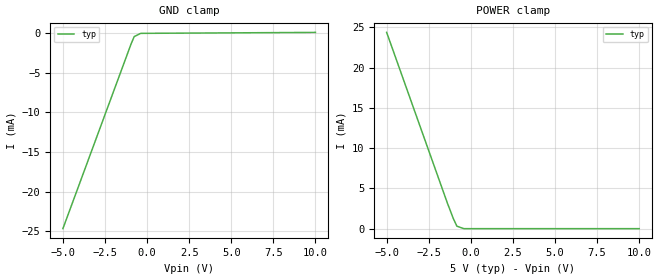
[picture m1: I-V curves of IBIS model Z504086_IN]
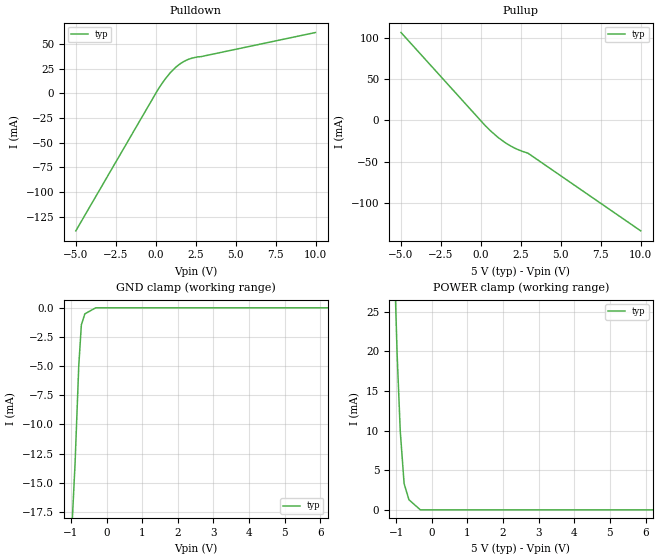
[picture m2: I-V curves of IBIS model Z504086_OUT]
| YOU ARE ONLY AUTHORIZED TO USE THIS SOFTWARE
| ACCORDING TO LICENSOR'S LICENSE RESTRICTIONS.
[IBIS Ver] 3.1
[File Name] mc54hc273aj.ibs
[File Rev] 2.0
[Source] Measured and created by ICX Technology
[Date] Friday 7/14/00 9:08:06 AM
[Copyright]
| (C) COPYRIGHT 1993-2000
| MENTOR GRAPHICS CORPORATION
| ICX STANDARD LIBRARY, ICX PROJECT MODELING,
| ICX CUSTOM MODELING, ICX VENDOR MODEL
| ALL RIGHTS RESERVED.
| THE FOLLOWING ARE TRADEMARKS OR SERVICE MARKS OF
| MENTOR GRAPHICS CORPORATION:ICX (R), ICX STANDARD
| LIBRARY(R), ICX PROJECT MODELING(R), ICX CUSTOM
| MODELING(R), qualityIBIS(TM), MODELVIEWER(TM),
| AND MODELEDITOR(TM)
| ALL COPIES OF SOFTWARE, INCLUDING BUT NOT LIMITED TO
| ANY MODIFICATIONS, ENHANCEMENTS OR DERIVATIVE WORKS,
| MUST CONTAIN ALL MENTOR GRAPHICS CORPORATION'S
| NOTICES AND LEGENDS, INCLUDING THOSE EMBEDDED IN
| SOFTWARE AND THOSE AFFIXED TO SOFTWARE MEDIUM
| AND CONTAINER, AS RECEIVED FROM MENTOR GRAPHICS
| CORPORATION.
|  ZAP Model Builder 2.7
[Component] MC54HC273AJ
[Manufacturer] OnSemiconductor
[Package]
| variable   typ   min   max
R_pkg  .216ohms NA NA
L_pkg  5.76nH NA NA
C_pkg  2.193pF NA NA
[Pin] signal_name  model_name  R_pin  L_pin C_pin
1 _CLR Z504086_IN .232 9.76n 3.179p
2 Q0 Z504086_OUT .224 7.26n 2.686p
3 D0 Z504086_IN .216 5.26n 2.193p
4 D1 Z504086_IN .208 3.76n 1.7p
5 Q1 Z504086_OUT .2 2.76n 1.207p
6 Q2 Z504086_OUT .2 2.76n 1.207p
7 D2 Z504086_IN .208 3.76n 1.7p
8 D3 Z504086_IN .216 5.26n 2.193p
9 Q3 Z504086_OUT .224 7.26n 2.686p
10 GND GND .232 9.76n 3.179p
11 CLK Z504086_IN .232 9.76n 3.179p
12 Q4 Z504086_OUT .224 7.26n 2.686p
13 D4 Z504086_IN .216 5.26n 2.193p
14 D5 Z504086_IN .208 3.76n 1.7p
15 Q5 Z504086_OUT .2 2.76n 1.207p
16 Q6 Z504086_OUT .2 2.76n 1.207p
17 D6 Z504086_IN .208 3.76n 1.7p
18 D7 Z504086_IN .216 5.26n 2.193p
19 Q7 Z504086_OUT .224 7.26n 2.686p
20 VCC POWER .232 9.76n 3.179p
| Models and submodels in the file (2): Z504086_IN (Input), Z504086_OUT (Output)
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| (C) COPYRIGHT 1993-2000
| MENTOR GRAPHICS CORPORATION
| ICX STANDARD LIBRARY, ICX PROJECT MODELING,
| ICX CUSTOM MODELING, ICX VENDOR MODEL
| ALL RIGHTS RESERVED.
| THE FOLLOWING ARE TRADEMARKS OR SERVICE MARKS OF
| MENTOR GRAPHICS CORPORATION:ICX (R), ICX STANDARD
| LIBRARY(R), ICX PROJECT MODELING(R), ICX CUSTOM
| MODELING(R), qualityIBIS(TM), MODELVIEWER(TM),
| AND MODELEDITOR(TM)
| ALL COPIES OF SOFTWARE, INCLUDING BUT NOT LIMITED TO
| ANY MODIFICATIONS, ENHANCEMENTS OR DERIVATIVE WORKS,
| MUST CONTAIN ALL MENTOR GRAPHICS CORPORATION'S
| NOTICES AND LEGENDS, INCLUDING THOSE EMBEDDED IN
| SOFTWARE AND THOSE AFFIXED TO SOFTWARE MEDIUM
| AND CONTAINER, AS RECEIVED FROM MENTOR GRAPHICS
| CORPORATION.
| Model Application Version 1.89 2/18/99.
[Model] Z504086_IN
Model_type Input
Vinl = 1.000V
Vinh = 3.500V
C_comp 4.000pF NA NA
| variable typ   min   max
[Voltage Range] 5.000V NA NA
[GND Clamp Reference] 0.000V NA NA
[POWER Clamp Reference] 5.000V NA NA
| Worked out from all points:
|   GND clamp passes 1 mA (typ) near -0.88 V on its own axis
|   POWER clamp passes 1 mA (typ) near -0.98 V on its own axis
[GND Clamp]
-5V       -24.65mA   NA         NA
-936.9mV  -1.3mA     NA         NA
-765.4mV  -453.9uA   NA         NA
-382.7mV  -41.27uA   NA         NA
10V       80.42uA    NA         NA
[POWER Clamp]
-5V       24.39mA    NA         NA
-1.398V   3.206mA    NA         NA
-1.04V    1.254mA    NA         NA
-830mV    311.8uA    NA         NA
-415mV    0A         NA         NA
10V       0A         NA         NA
| (C) COPYRIGHT 1993-2000
| MENTOR GRAPHICS CORPORATION
| ICX STANDARD LIBRARY, ICX PROJECT MODELING,
| ICX CUSTOM MODELING, ICX VENDOR MODEL
| ALL RIGHTS RESERVED.
| THE FOLLOWING ARE TRADEMARKS OR SERVICE MARKS OF
| MENTOR GRAPHICS CORPORATION:ICX (R), ICX STANDARD
| LIBRARY(R), ICX PROJECT MODELING(R), ICX CUSTOM
| MODELING(R), qualityIBIS(TM), MODELVIEWER(TM),
| AND MODELEDITOR(TM)
| ALL COPIES OF SOFTWARE, INCLUDING BUT NOT LIMITED TO
| ANY MODIFICATIONS, ENHANCEMENTS OR DERIVATIVE WORKS,
| MUST CONTAIN ALL MENTOR GRAPHICS CORPORATION'S
| NOTICES AND LEGENDS, INCLUDING THOSE EMBEDDED IN
| SOFTWARE AND THOSE AFFIXED TO SOFTWARE MEDIUM
| AND CONTAINER, AS RECEIVED FROM MENTOR GRAPHICS
| CORPORATION.
| Model Application Version 1.89 2/18/99.
[Model] Z504086_OUT
Model_type Output
Vref=0.000V
Rref=500.0Mohms
Cref=50.00pF
Vmeas=2.500V
C_comp 8.000pF NA NA
| variable typ   min   max
[Voltage Range] 5.000V NA NA
[POWER Clamp Reference] 5.000V NA NA
[Pullup Reference] 5.000V NA NA
[Pulldown Reference] 0.000V NA NA
[GND Clamp Reference] 0.000V NA NA
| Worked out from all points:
|   slope of the pulldown table from 0 to 0.75 V, typ, clamps not added: 42.2 ohm
|   slope of the pullup table from 0 to 0.75 V, typ, clamps not added: 51.3 ohm
|   GND clamp passes 1 mA (typ) near -0.66 V on its own axis
[GND Clamp]
-5V       -270mA     NA         NA
-884.1mV  -13.33mA   NA         NA
-780.5mV  -4.961mA   NA         NA
-707.9mV  -1.468mA   NA         NA
-609.8mV  -517.2uA   NA         NA
-304.9mV  0A         NA         NA
10V       0A         NA         NA
[Pulldown]
-5V       -139.5mA   NA         NA
83.96mV   2.419mA    NA         NA
575.3mV   14.3mA     NA         NA
921.7mV   21.3mA     NA         NA
1.257V    26.69mA    NA         NA
1.792V    32.75mA    NA         NA
2.305V    36.1mA     NA         NA
10V       61.94mA    NA         NA
[Pullup]
-5V       106.2mA    NA         NA
254mV     -6.163mA   NA         NA
1.075V    -20.86mA   NA         NA
2.002V    -32.63mA   NA         NA
2.93V     -39.68mA   NA         NA
10V       -133.9mA   NA         NA
[POWER Clamp]
-5V       629.6mA    NA         NA
-972mV    19.6mA     NA         NA
-884mV    9.889mA    NA         NA
-776mV    3.299mA    NA         NA
-640mV    1.269mA    NA         NA
-320mV    0A         NA         NA
10V       0A         NA         NA
[Ramp]
| variable typ min max
dV/dt_r 2.755/966.7p NA NA
dV/dt_f 2.755/825.1p NA NA
R_load = 500.0Ohms
